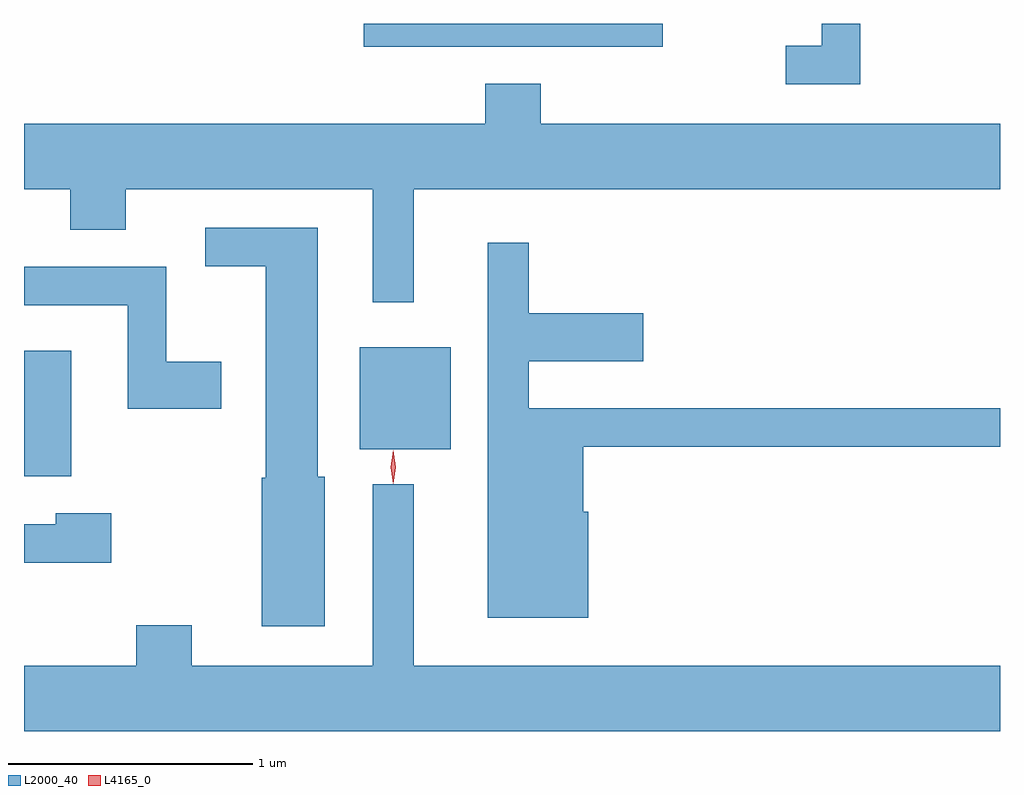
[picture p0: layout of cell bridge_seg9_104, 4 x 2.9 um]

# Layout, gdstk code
import gdstk
lib = gdstk.Library(unit=1e-6, precision=1e-09)
def R(c, l, rs):  # rectangles x0, y0, x1, y1
    for r in rs: c.add(gdstk.rectangle(r[:2], r[2:], *l))
def P(c, l, *ps):  # polygons
    for p in ps: c.add(gdstk.Polygon(p, *l))
L2000_40 = (2000, 40)
L4165_0 = (4165, 0)

bridge_seg9_104 = lib.new_cell('bridge_seg9_104')
R(bridge_seg9_104, L2000_40, [(1749.421,1968.441,1749.614,1968.954), (1750.796,1968.551,1751.169,1968.969), (1750.813,1970.201,1752.038,1970.294)])
P(bridge_seg9_104, L2000_40, [(1752.849,1970.294),(1752.691,1970.294),(1752.691,1970.204),(1752.543,1970.204),(1752.543,1970.046),(1752.849,1970.046)],
  [(1751.019,1969.616),(1753.421,1969.616),(1753.421,1969.884),(1751.539,1969.884),(1751.539,1970.049),(1751.311,1970.049),(1751.311,1969.884),(1749.421,1969.884),(1749.421,1969.616),(1749.611,1969.616),(1749.611,1969.451),(1749.839,1969.451),(1749.839,1969.616),(1750.851,1969.616),(1750.851,1969.153),(1751.019,1969.153)],
  [(1750.654,1968.439),(1750.624,1968.439),(1750.624,1969.459),(1750.163,1969.459),(1750.163,1969.301),(1750.411,1969.301),(1750.411,1968.435),(1750.396,1968.435),(1750.396,1967.826),(1750.654,1967.826)],
  [(1751.734,1968.294),(1751.714,1968.294),(1751.714,1968.561),(1753.421,1968.561),(1753.421,1968.719),(1751.489,1968.719),(1751.489,1968.911),(1751.959,1968.911),(1751.959,1969.109),(1751.489,1969.109),(1751.489,1969.398),(1751.321,1969.398),(1751.321,1967.861),(1751.734,1967.861)],
  [(1750.229,1968.909),(1750.004,1968.909),(1750.004,1969.299),(1749.421,1969.299),(1749.421,1969.141),(1749.846,1969.141),(1749.846,1968.716),(1750.229,1968.716)],
  [(1753.421,1967.664),(1751.019,1967.664),(1751.019,1968.408),(1750.851,1968.408),(1750.851,1967.664),(1750.109,1967.664),(1750.109,1967.829),(1749.881,1967.829),(1749.881,1967.664),(1749.421,1967.664),(1749.421,1967.396),(1753.421,1967.396)],
  [(1749.779,1968.289),(1749.551,1968.289),(1749.551,1968.244),(1749.421,1968.244),(1749.421,1968.086),(1749.779,1968.086)])
P(bridge_seg9_104, L4165_0, [(1750.935,1968.409),(1750.934,1968.41),(1750.925,1968.478),(1750.934,1968.546),(1750.935,1968.546),(1750.935,1968.546),(1750.945,1968.478),(1750.935,1968.41)],
  [(1750.934,1968.413),(1750.924,1968.477),(1750.934,1968.541),(1750.934,1968.542),(1750.935,1968.541),(1750.944,1968.477),(1750.935,1968.413),(1750.935,1968.413)])

lib.write_gds('bridge_seg9_104.gds')
